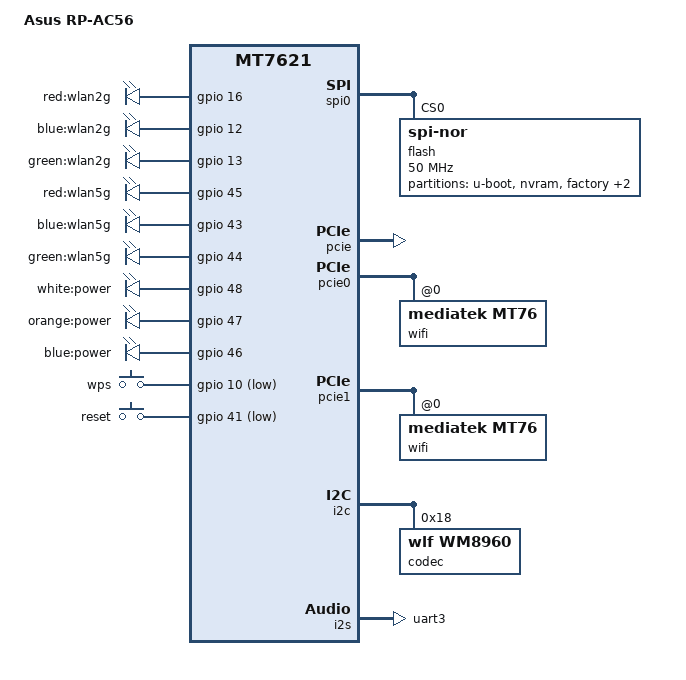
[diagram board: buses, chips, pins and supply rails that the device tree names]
// SPDX-License-Identifier: GPL-2.0-or-later OR MIT

#include "mt7621.dtsi"

#include <dt-bindings/gpio/gpio.h>
#include <dt-bindings/input/input.h>

/ {
	compatible = "asus,rp-ac56", "mediatek,mt7621-soc";
	model = "Asus RP-AC56";

	aliases {
		led-boot = &led_power_orange;
		led-failsafe = &led_power_orange;
		led-running = &led_power_white;
		led-upgrade = &led_power_blue;
		label-mac-device = &gmac0;
	};

	leds {
		compatible = "gpio-leds";

		wlan2g_red {
			label = "red:wlan2g";
			gpios = <&gpio 16 GPIO_ACTIVE_HIGH>;
		};

		wlan2g_blue {
			label = "blue:wlan2g";
			gpios = <&gpio 12 GPIO_ACTIVE_HIGH>;
		};

		wlan2g_green {
			label = "green:wlan2g";
			gpios = <&gpio 13 GPIO_ACTIVE_HIGH>;
			linux,default-trigger = "phy0tpt";
		};

		wlan5g_red {
			label = "red:wlan5g";
			gpios = <&gpio 45 GPIO_ACTIVE_HIGH>;
		};

		wlan5g_blue {
			label = "blue:wlan5g";
			gpios = <&gpio 43 GPIO_ACTIVE_HIGH>;
		};

		wlan5g_green {
			label = "green:wlan5g";
			gpios = <&gpio 44 GPIO_ACTIVE_HIGH>;
			linux,default-trigger = "phy1tpt";
		};

		led_power_white: power_white {
			label = "white:power";
			gpios = <&gpio 48 GPIO_ACTIVE_HIGH>;
		};

		led_power_orange: power_orange {
			label = "orange:power";
			gpios = <&gpio 47 GPIO_ACTIVE_HIGH>;
		};

		led_power_blue: power_blue {
			label = "blue:power";
			gpios = <&gpio 46 GPIO_ACTIVE_HIGH>;
		};
	};

	keys {
		compatible = "gpio-keys";

		wps {
			label = "wps";
			gpios = <&gpio 10 GPIO_ACTIVE_LOW>;
			linux,code = <KEY_WPS_BUTTON>;
		};

		reset {
			label = "reset";
			gpios = <&gpio 41 GPIO_ACTIVE_LOW>;
			linux,code = <KEY_RESTART>;
		};
	};

	sound {
		compatible = "simple-audio-card";
		simple-audio-card,name = "Audio-I2S";
		simple-audio-card,format = "i2s";
		simple-audio-card,bitclock-master = <&dailink0_master>;
		simple-audio-card,frame-master = <&dailink0_master>;
		simple-audio-card,routing =
			"Headphone Jack", "HP_L",
			"Headphone Jack", "HP_R";
		simple-audio-card,mclk-fs = <256>;

		simple-audio-card,cpu {
			sound-dai = <&i2s>;
		};

		dailink0_master: simple-audio-card,codec {
			sound-dai = <&codec>;
		};
	};
};

&gpio {
	status = "okay";
};

&spi0 {
	status = "okay";

	flash@0 {
		compatible = "jedec,spi-nor";
		reg = <0>;
		spi-max-frequency = <50000000>;
		m25p,fast-read;

		partitions {
			compatible = "fixed-partitions";
			#address-cells = <1>;
			#size-cells = <1>;

			partition@0 {
				label = "u-boot";
				reg = <0x0 0x30000>;
				read-only;
			};

			partition@30000 {
				label = "nvram";
				reg = <0x30000 0x10000>;
				read-only;
			};

			factory: partition@40000 {
				label = "factory";
				reg = <0x40000 0x10000>;
				read-only;

				compatible = "nvmem-cells";
				#address-cells = <1>;
				#size-cells = <1>;

				macaddr_factory_4: macaddr@4 {
					reg = <0x4 0x6>;
				};
			};

			partition@50000 {
				compatible = "denx,uimage";
				label = "firmware";
				reg = <0x50000 0xfa0000>;
			};

			radio: partition@ff0000 {
				label = "radio";
				reg = <0xff0000 0x10000>;
				read-only;
			};
		};
	};
};

&state_default {
	gpio {
		groups = "uart2";
		function = "gpio";
	};
};

&pinctrl {
	i2s_pins: i2s {
		i2s {
			groups = "uart3";
			function = "i2s";
		};
	};
};

&pcie {
	status = "okay";
};

&pcie0 {
	wifi@0,0 {
		compatible = "mediatek,mt76";
		reg = <0x0000 0 0 0 0>;
		mediatek,mtd-eeprom = <&factory 0x0000>;
		ieee80211-freq-limit = <2400000 2500000>;
	};
};

&pcie1 {
	wifi@0,0 {
		compatible = "mediatek,mt76";
		reg = <0x0000 0 0 0 0>;
		mediatek,mtd-eeprom = <&factory 0x8000>;
		ieee80211-freq-limit = <5000000 6000000>;
	};
};

&gmac0 {
	nvmem-cells = <&macaddr_factory_4>;
	nvmem-cell-names = "mac-address";
};

&switch0 {
	ports {
		port@0 {
			status = "okay";
			label = "lan";
		};
	};
};

&xhci {
	status = "disabled";
};

&i2c {
	status = "okay";

	codec: wm8960@18 {
		#sound-dai-cells = <0>;
		compatible = "wlf,wm8960";
		reg = <0x18>;
		wlf,shared-lrclk;
	};
};

&gdma {
	status = "okay";
};

&i2s {
	#sound-dai-cells = <0>;
	status = "okay";
	pinctrl-names = "default";
	pinctrl-0 = <&i2s_pins>;
};
